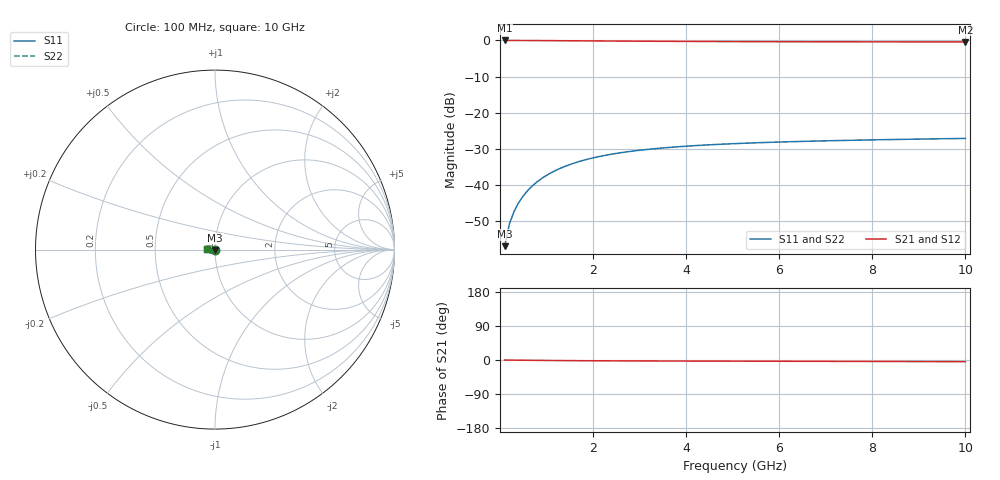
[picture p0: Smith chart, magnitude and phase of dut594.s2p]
! Touchstone file exported from HFSS 2024.1.0
!  File:  C:/UserFiles/LocalFiles/RDL_TSV_Batchsim/temp_TSV1_594_1779710581.aedt
!  Generated:  08:10:54 PM May 25, 2026
!  Design:  TSV1
!  Project:  temp_TSV1_594_1779710581
!  Setup:  Setup1
!  Solution:  Sweep
! Variables:
!  dtsv = 12.55um
!  hbump = 3um
!  htsv = 65.74um
!  lrdl = 252.1521522um
!  p = 40
!  p1 = 56.53um
!  t = 500um
!  trdl = 3um
!  wrdl = 24.89489489um
# GHz S MA R 50.000000
! Terminal data exported
! Port[1] = TSV22_T1
! Port[2] = TSV22_T2
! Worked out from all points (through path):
!   100 points, 100 MHz to 10 GHz, reference 50 ohm
!   highest |S21| = 0.00 dB at 100 MHz (marker M1); lowest = -0.4 dB at 10 GHz (marker M2)
!   lowest |S11| = -56.8 dB at 100 MHz (marker M3), VSWR 1.00, Z = 50 - j0.144 ohm
!   |S11| at or under -10 dB: start of sweep to end of sweep
!   |S22| runs from -56.8 to -27.1 dB; largest |S21 - S12| = 5.2e-15
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0.1  0.001439 -89.0  0.9999 -0.1  0.9999 -0.1  0.001439 -89.0
! Gamma 0 0 0 0
! Port Impedance 50 0 50 0
0.2  0.002874 -92.6  0.9997 -0.3  0.9997 -0.3  0.002874 -92.6
0.3  0.004303 -95.2  0.9994 -0.4  0.9994 -0.4  0.004303 -95.2
0.4  0.00572 -97.5  0.999 -0.5  0.999 -0.5  0.00572 -97.5
0.5  0.007119 -99.8  0.9985 -0.6  0.9985 -0.6  0.007119 -99.8
0.6  0.008494 -102.0  0.998 -0.7  0.998 -0.7  0.008494 -102.0
0.7  0.009841 -104.1  0.9973 -0.9  0.9973 -0.9  0.009841 -104.1
0.8  0.01116 -106.2  0.9966 -1.0  0.9966 -1.0  0.01116 -106.2
0.9  0.01244 -108.3  0.9958 -1.1  0.9958 -1.1  0.01244 -108.3
1.1  0.01488 -112.2  0.9941 -1.3  0.9941 -1.3  0.01488 -112.2
1.4  0.01825 -117.8  0.9913 -1.6  0.9913 -1.6  0.01825 -117.8
1.6  0.02028 -121.2  0.9893 -1.7  0.9893 -1.7  0.02028 -121.2
1.8  0.02215 -124.5  0.9873 -1.9  0.9873 -1.9  0.02215 -124.5
2.1  0.02466 -129.1  0.9843 -2.0  0.9843 -2.0  0.02466 -129.1
2.5  0.02751 -134.5  0.9806 -2.3  0.9806 -2.3  0.02751 -134.5
2.9  0.02989 -139.4  0.9772 -2.4  0.9772 -2.4  0.02989 -139.4
3.4  0.03231 -144.7  0.9735 -2.6  0.9735 -2.6  0.03231 -144.7
4.2  0.03527 -151.9  0.9687 -2.9  0.9687 -2.9  0.03527 -151.9
5.1  0.03769 -158.5  0.9646 -3.1  0.9646 -3.1  0.03769 -158.5
6.7  0.04063 -167.8  0.9597 -3.5  0.9597 -3.5  0.04063 -167.8
8.4  0.04276 -175.7  0.9564 -3.9  0.9564 -3.9  0.04276 -175.7
10  0.04432 178.2  0.9543 -4.4  0.9543 -4.4  0.04432 178.2
